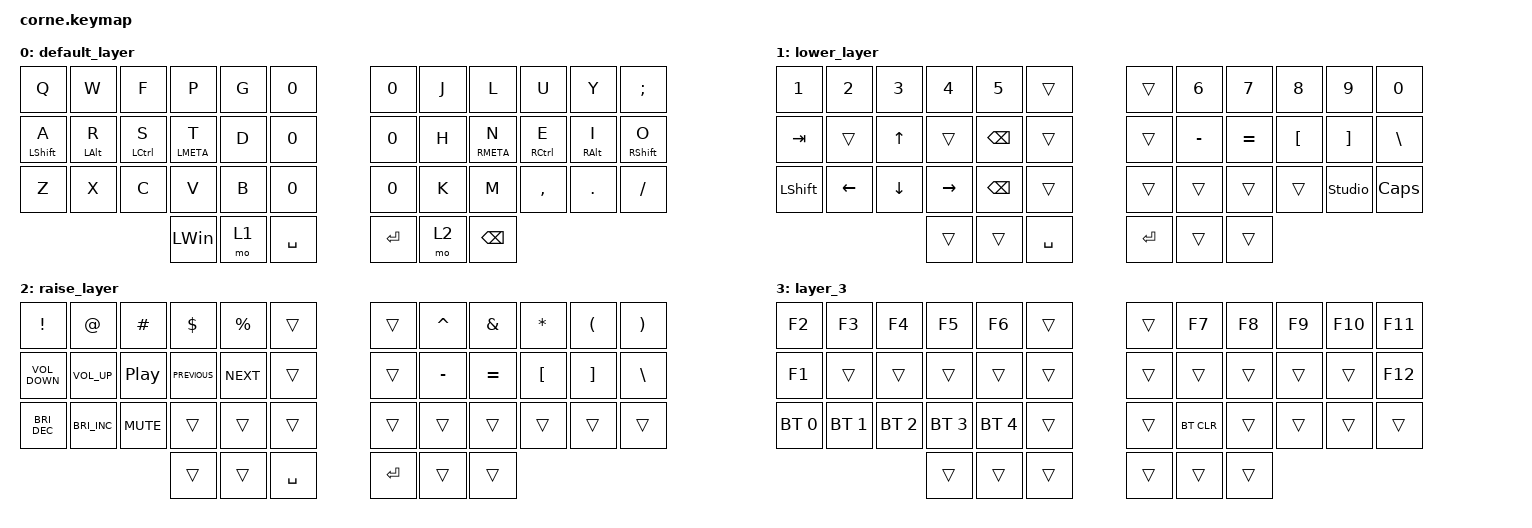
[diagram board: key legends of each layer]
#include <behaviors.dtsi>
#include <dt-bindings/zmk/bt.h>
#include <dt-bindings/zmk/keys.h>

&mt { tapping-term-ms = <500>; };

/ {
    keymap {
        compatible = "zmk,keymap";

        default_layer {
            // -----------------------------------------------------------------------------------------
            // |  TAB |  Q  |  W  |  F  |  P  |  G  |   |  J  |  L   |  U  |  Y  |  ;  | BKSP |
            // | SHFT |  A  |  R  |  S  |  T  |  D  |   |  H  |  N   |  E  |  I  |  O  |  '   |
            // | CTRL |  Z  |  X  |  C  |  V  |  B  |   |  K  |  M   |  ,  |  .  |  /  | ESC  |
            //                    | GUI | LWR | SPC |   | ENT | RSE  | ALT |

            bindings = <
&kp Q             &kp W           &kp F        &kp P         &kp G  &kp N0       &kp N0   &kp J  &kp L          &kp U        &kp Y       &kp SEMI
&mt LEFT_SHIFT A  &mt LEFT_ALT R  &mt LCTRL S  &mt LMETA T   &kp D  &kp N0       &kp N0   &kp H  &mt RMETA N    &mt RCTRL E  &mt RALT I  &mt RSHFT O
&kp Z             &kp X           &kp C        &kp V         &kp B  &kp N0       &kp N0   &kp K  &kp M          &kp COMMA    &kp DOT     &kp SLASH
                                               &kp LEFT_WIN  &mo 1  &kp SPACE    &kp RET  &mo 2  &kp BACKSPACE
            >;
        };

        lower_layer {
            // ------------------------------------------------------------------
            // |  1  |  2  |  3  |  4  |  5  |   |  6  |  7  |  8  |  9  |  0  |
            // | TAB |     | UP  |     | PUP |   |  [  |  ]  |  :  |  \  |  `  |
            // | SHT | LFT | DWN | RGT | PDN |   |  -  |  =  |  ,  |  .  | CAP |
            //             | GUI | LWR | SPC |   | ENT | RSE | BKSP|

            bindings = <
&kp NUMBER_1    &kp NUMBER_2  &kp NUMBER_3  &kp NUMBER_4  &kp N5         &trans       &trans   &kp NUMBER_6  &kp N7     &kp N8            &kp N9             &kp N0
&kp TAB         &trans        &kp UP_ARROW  &trans        &kp BACKSPACE  &trans       &trans   &kp MINUS     &kp EQUAL  &kp LEFT_BRACKET  &kp RIGHT_BRACKET  &kp BACKSLASH
&kp LEFT_SHIFT  &kp LEFT      &kp DOWN      &kp RIGHT     &kp BACKSPACE  &trans       &trans   &trans        &trans     &trans            &studio_unlock             &kp CAPS
                                            &trans        &trans         &kp SPACE    &kp RET  &trans        &trans
            >;
        };

        raise_layer {
            // ------------------------------------------------------------------
            // |  !  |  @  |  #  |  $  |  %  |   |  ^  |  &  |  *  |  (  |  )  |
            // | VDN | VUP | PLY | PRV | NXT |   |  -  |  =  |  [  |  ]  |  \  |
            // | BDN | BUP | MTE |     |     |   |  _  |  +  |  {  |  }  |  |  |
            //             | GUI | LWR | SPC |   | ENT | RSE | BKSP|

            bindings = <
&kp EXCL           &kp AT           &kp HASH          &kp DLLR        &kp PRCNT   &trans       &trans   &kp CARET  &kp AMPS   &kp ASTRK  &kp LPAR  &kp RPAR
&kp C_VOLUME_DOWN  &kp C_VOLUME_UP  &kp C_PLAY_PAUSE  &kp C_PREVIOUS  &kp C_NEXT  &trans       &trans   &kp MINUS  &kp EQUAL  &kp LBKT   &kp RBKT  &kp BSLH
&kp C_BRI_DEC      &kp C_BRI_INC    &kp C_MUTE        &trans          &trans      &trans       &trans   &trans     &trans     &trans     &trans    &trans
                                                      &trans          &trans      &kp SPACE    &kp RET  &trans     &trans
            >;
        };

        layer_3 {
            // ------------------------------------------------------------------
            // |  F2 |  F3 |  F4 |  F5 |  F6 |   |  F7 |  F8 |  F9 | F10 | F11 |
            // |  F1 |     |     |     |     |   |     |     |     |     | F12 |
            // |     |     |     |     |     |   |     |     |     |     |     |
            //             | GUI | LWR | SPC |   | ENT | RSE | BKSP|

            bindings = <
&kp F2        &kp F3        &kp F4        &kp F5        &kp F6        &trans    &trans  &kp F7      &kp F8  &kp F9  &kp F10  &kp F11
&kp F1        &trans        &trans        &trans        &trans        &trans    &trans  &trans      &trans  &trans  &trans   &kp F12
&bt BT_SEL 0  &bt BT_SEL 1  &bt BT_SEL 2  &bt BT_SEL 3  &bt BT_SEL 4  &trans    &trans  &bt BT_CLR  &trans  &trans  &trans   &trans
                                          &trans        &trans        &trans    &trans  &trans      &trans
            >;
        };
    };

    conditional_layers {
        compatible = "zmk,conditional-layers";

        fourth {
            if-layers = <1 2>;
            then-layer = <3>;
        };
    };
};
